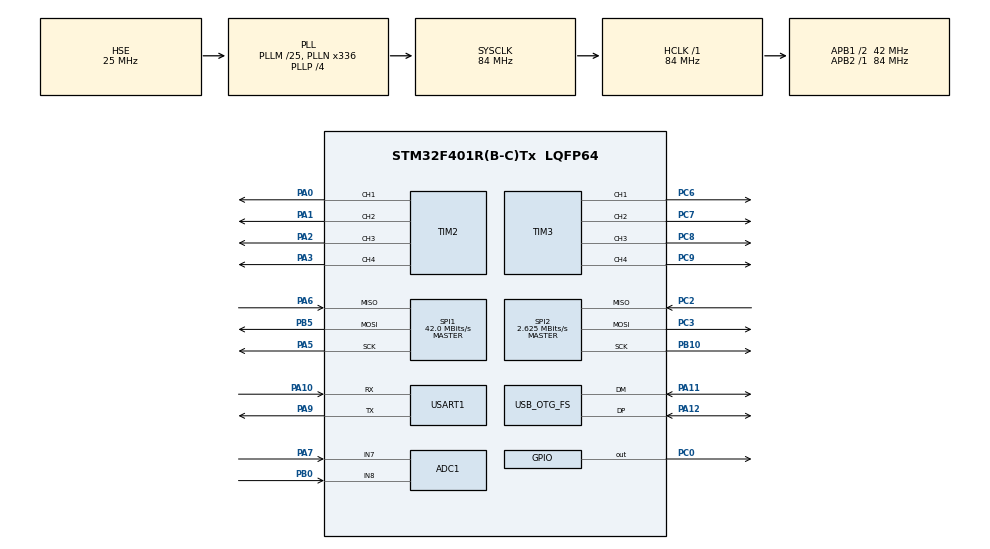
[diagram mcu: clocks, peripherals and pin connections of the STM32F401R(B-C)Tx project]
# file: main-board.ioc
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ADC1.Channel-0\#ChannelRegularConversion=ADC_CHANNEL_8
ADC1.NbrOfConversionFlag=1
ADC1.Rank-0\#ChannelRegularConversion=1
ADC1.SamplingTime-0\#ChannelRegularConversion=ADC_SAMPLETIME_3CYCLES
ADC1.master=1
Mcu.Family=STM32F4
Mcu.Name=STM32F401R(B-C)Tx
Mcu.Package=LQFP64
NVIC.OTG_FS_IRQn=true\:0\:0\:false\:false\:true\:false\:true\:true
NVIC.PriorityGroup=NVIC_PRIORITYGROUP_4
NVIC.TIM4_IRQn=true\:0\:0\:false\:false\:true\:true\:true\:true
PA0-WKUP.Signal=S_TIM2_CH1_ETR
PA1.Signal=S_TIM2_CH2
PA10.Mode=Asynchronous
PA10.Signal=USART1_RX
PA11.Mode=Device_Only
PA11.Signal=USB_OTG_FS_DM
PA12.Mode=Device_Only
PA12.Signal=USB_OTG_FS_DP
PA13.Mode=JTAG_5_pins
PA13.Signal=SYS_JTMS-SWDIO
PA14.Mode=JTAG_5_pins
PA14.Signal=SYS_JTCK-SWCLK
PA15.Mode=JTAG_5_pins
PA15.Signal=SYS_JTDI
PA2.Signal=S_TIM2_CH3
PA3.Signal=S_TIM2_CH4
PA5.Mode=Full_Duplex_Master
PA5.Signal=SPI1_SCK
PA6.Mode=Full_Duplex_Master
PA6.Signal=SPI1_MISO
PA7.Signal=ADCx_IN7
PA9.Mode=Asynchronous
PA9.Signal=USART1_TX
PB0.Signal=ADCx_IN8
PB10.Mode=Full_Duplex_Master
PB10.Signal=SPI2_SCK
PB3.Mode=JTAG_5_pins
PB3.Signal=SYS_JTDO-SWO
PB4.Mode=JTAG_5_pins
PB4.Signal=SYS_JTRST
PB5.Mode=Full_Duplex_Master
PB5.Signal=SPI1_MOSI
PC0.Signal=GPIO_Output
PC2.Mode=Full_Duplex_Master
PC2.Signal=SPI2_MISO
PC3.Mode=Full_Duplex_Master
PC3.Signal=SPI2_MOSI
PC6.Signal=S_TIM3_CH1
PC7.Signal=S_TIM3_CH2
PC8.Signal=S_TIM3_CH3
PC9.Signal=S_TIM3_CH4
PH0\ -\ OSC_IN.Mode=HSE-External-Oscillator
PH0\ -\ OSC_IN.Signal=RCC_OSC_IN
PH1\ -\ OSC_OUT.Mode=HSE-External-Oscillator
PH1\ -\ OSC_OUT.Signal=RCC_OSC_OUT
ProjectManager.HeapSize=0x200
ProjectManager.StackSize=0x400
ProjectManager.TargetToolchain=STM32CubeIDE
RCC.48MHZClocksFreq_Value=48000000
RCC.AHBFreq_Value=84000000
RCC.APB1CLKDivider=RCC_HCLK_DIV2
RCC.APB1Freq_Value=42000000
RCC.APB1TimFreq_Value=84000000
RCC.APB2Freq_Value=84000000
RCC.APB2TimFreq_Value=84000000
RCC.CortexFreq_Value=84000000
RCC.HCLKFreq_Value=84000000
RCC.HSE_VALUE=25000000
RCC.HSI_VALUE=16000000
RCC.LSE_VALUE=32768
RCC.PLLM=25
RCC.PLLN=336
RCC.PLLP=RCC_PLLP_DIV4
RCC.PLLQ=7
RCC.SYSCLKFreq_VALUE=84000000
RCC.SYSCLKSource=RCC_SYSCLKSOURCE_PLLCLK
RCC.VCOOutputFreq_Value=336000000
SH.ADCx_IN7.0=ADC1_IN7,IN7
SH.ADCx_IN8.0=ADC1_IN8,IN8
SH.S_TIM2_CH1_ETR.0=TIM2_CH1,PWM Generation1 CH1
SH.S_TIM2_CH2.0=TIM2_CH2,PWM Generation2 CH2
SH.S_TIM2_CH3.0=TIM2_CH3,PWM Generation3 CH3
SH.S_TIM2_CH4.0=TIM2_CH4,PWM Generation4 CH4
SH.S_TIM3_CH1.0=TIM3_CH1,PWM Generation1 CH1
SH.S_TIM3_CH2.0=TIM3_CH2,PWM Generation2 CH2
SH.S_TIM3_CH3.0=TIM3_CH3,PWM Generation3 CH3
SH.S_TIM3_CH4.0=TIM3_CH4,PWM Generation4 CH4
SPI1.CalculateBaudRate=42.0 MBits/s
SPI1.Direction=SPI_DIRECTION_2LINES
SPI1.Mode=SPI_MODE_MASTER
SPI1.VirtualType=VM_MASTER
SPI2.BaudRatePrescaler=SPI_BAUDRATEPRESCALER_16
SPI2.CalculateBaudRate=2.625 MBits/s
SPI2.Direction=SPI_DIRECTION_2LINES
SPI2.Mode=SPI_MODE_MASTER
SPI2.VirtualType=VM_MASTER
TIM2.Channel-PWM\ Generation1\ CH1=TIM_CHANNEL_1
TIM2.Channel-PWM\ Generation2\ CH2=TIM_CHANNEL_2
TIM2.Channel-PWM\ Generation3\ CH3=TIM_CHANNEL_3
TIM2.Channel-PWM\ Generation4\ CH4=TIM_CHANNEL_4
TIM3.Channel-PWM\ Generation1\ CH1=TIM_CHANNEL_1
TIM3.Channel-PWM\ Generation2\ CH2=TIM_CHANNEL_2
TIM3.Channel-PWM\ Generation3\ CH3=TIM_CHANNEL_3
TIM3.Channel-PWM\ Generation4\ CH4=TIM_CHANNEL_4
TIM4.Period=9999
TIM4.Prescaler=8399
USART1.VirtualMode=VM_ASYNC
USB_DEVICE.CLASS_NAME_FS=CDC
USB_DEVICE.VirtualMode=Cdc
USB_DEVICE.VirtualModeFS=Cdc_FS
USB_OTG_FS.VirtualMode=Device_Only
VP_TIM4_VS_ClockSourceINT.Mode=Internal
VP_USB_DEVICE_VS_USB_DEVICE_CDC_FS.Mode=CDC_FS
board=custom

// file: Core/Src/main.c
/* USER CODE BEGIN Header */
/**
  ******************************************************************************
  * @file           : main.c
  * @brief          : Main program body
  ******************************************************************************
  * @attention
  *
  * Copyright (c) 2025 STMicroelectronics.
  * All rights reserved.
  *
  * This software is licensed under terms that can be found in the LICENSE file
  * in the root directory of this software component.
  * If no LICENSE file comes with this software, it is provided AS-IS.
  *
  ******************************************************************************
  */
/* USER CODE END Header */
#include "main.h"
#include "adc.h"
#include "spi.h"
#include "tim.h"
#include "usart.h"
#include "usb_device.h"
#include "gpio.h"

/* USER CODE BEGIN PD */
#define CMD_WREG        0x40
#define CMD_START       0x08
#define CMD_STOP        0x0A
#define CMD_RDATA       0x12

#define REG_INPMUX      0x02
#define REG_MODE        0x04  // as you asked: write 0x39 here
/* USER CODE END PD */

/* USER CODE BEGIN PV */
uint16_t soc = 80; //in % of full
uint16_t current1 = 0; //in mA
uint16_t current2 = 0; //in mA
uint16_t current3 = 0; //in mA
uint16_t totalCurrent = 0; //in A
uint16_t voltage = 0; //in volts
uint16_t currentPower = 0; //in Watts
uint16_t temp1 = 0;
uint16_t temp2 = 0;

//ADS124_HandleTypeDef adc;

volatile uint8_t sendTelemetryFlag = 0;
uint32_t results[6];
/* USER CODE END PV */

void SystemClock_Config(void);

int main(void)
{

  /* MCU Configuration--------------------------------------------------------*/

  /* Reset of all peripherals, Initializes the Flash interface and the Systick. */
  HAL_Init();

  /* Configure the system clock */
  SystemClock_Config();

  /* Initialize all configured peripherals */
  MX_GPIO_Init();
  MX_ADC1_Init();
  MX_SPI1_Init();
  MX_SPI2_Init();
  MX_TIM2_Init();
  MX_TIM3_Init();
  MX_USART1_UART_Init();
  MX_TIM4_Init();
  MX_USB_DEVICE_Init();
  /* USER CODE BEGIN 2 */
//  ADS124_Init(&adc, &hspi2);
//  ADS124_SetDataRate(&adc, 0x06);
//  HAL_TIM_Base_Start_IT(&htim4);

//  uint8_t cmd[3] = { 0x20 | 0x04, 0x02, 0x00};
//  uint8_t rx[3];
//
//  volatile uint8_t reg04;
   {
          uint8_t hdr[2] = { CMD_WREG | REG_MODE, 0x00 }; // write 1 reg
          uint8_t val    = 0x39;
//          ADC_CS_LOW();
          HAL_SPI_Transmit(&hspi2, hdr, 2, HAL_MAX_DELAY);
          HAL_SPI_Transmit(&hspi2, &val, 1, HAL_MAX_DELAY);
//          ADC_CS_HIGH();
   }

  /* USER CODE END 2 */

  /* Infinite loop */
  /* USER CODE BEGIN WHILE */
  while (1)
  {
//	  HAL_GPIO_TogglePin(GPIOC, GPIO_PIN_0);
//	  if (sendTelemetryFlag) {
//		  sendTelemetryFlag = 0;
//		  USB_SendTelemetry(totalCurrent, voltage, soc, temp1, temp2);
//	  }
//	  for (uint8_t ch = 0; ch < 6; ch++) {
//		  // pick channel
//		  ADS124_SelectChannel(&adc, ch);
//		  // start conversion
//		  ADS124_SendCommand(&adc, ADS124_CMD_START);
//
//		  // wait ≥1/400 s = 2.5 ms
//		  HAL_Delay(3);
//
//		  // read the 24-bit signed result
//		  ADS124_ReadConversion(&adc, &results[ch]);
//		  printf("CH%u = %ld\r\n", ch, results[ch]);
//
//		  // stop any further conversions until next START
//		  ADS124_SendCommand(&adc, ADS124_CMD_STOP);
//	  }

	  for (uint8_t ch = 0; ch < 6; ch++)
	  {
		  // a) select channel: INPMUX = P = AINch, N = AINCOM (0x09)
		  {
			  uint8_t hdr[2] = { CMD_WREG | REG_INPMUX, 0x00 };
			  uint8_t mux    = (ch << 4) | 0x0c;
//			  ADC_CS_LOW();
			  HAL_SPI_Transmit(&hspi2, hdr, 2, HAL_MAX_DELAY);
			  HAL_SPI_Transmit(&hspi2, &mux, 1, HAL_MAX_DELAY);
//			  ADC_CS_HIGH();
		  }

		  // b) start one conversion
		  {
			  uint8_t cmd = CMD_START;
//			  ADC_CS_LOW();
			  HAL_SPI_Transmit(&hspi2, &cmd, 1, HAL_MAX_DELAY);
//			  ADC_CS_HIGH();
		  }

		  // c) wait conversion time (e.g. ~3 ms @ 400 SPS)
		  HAL_Delay(3);

		  // d) read the 24-bit result via RDATA
		  {
			  uint8_t cmd = CMD_RDATA;
			  uint8_t buf[3];
//			  ADC_CS_LOW();
			  HAL_SPI_Transmit(&hspi2, &cmd, 1, HAL_MAX_DELAY);
			  HAL_SPI_Receive (&hspi2, buf, 3, HAL_MAX_DELAY);
//			  ADC_CS_HIGH();

			  uint32_t v = (buf[0] << 16)
						| (buf[1] <<  8)
						|  buf[2];
			  results[ch] = v;
		  }

		  // e) stop (optional when doing single-shot)
//		  {
//			  uint8_t cmd = CMD_STOP;
////			  ADC_CS_LOW();
//			  HAL_SPI_Transmit(&hspi1, &cmd, 1, HAL_MAX_DELAY);
////			  ADC_CS_HIGH();
//		  }
	  }
	  volatile int bkpt = 0;
    /* USER CODE END WHILE */

  }
}

void SystemClock_Config(void)
{
  RCC_OscInitTypeDef RCC_OscInitStruct = {0};
  RCC_ClkInitTypeDef RCC_ClkInitStruct = {0};

  /** Configure the main internal regulator output voltage
  */
  __HAL_RCC_PWR_CLK_ENABLE();
  __HAL_PWR_VOLTAGESCALING_CONFIG(PWR_REGULATOR_VOLTAGE_SCALE2);

  /** Initializes the RCC Oscillators according to the specified parameters
  * in the RCC_OscInitTypeDef structure.
  */
  RCC_OscInitStruct.OscillatorType = RCC_OSCILLATORTYPE_HSE;
  RCC_OscInitStruct.HSEState = RCC_HSE_ON;
  RCC_OscInitStruct.PLL.PLLState = RCC_PLL_ON;
  RCC_OscInitStruct.PLL.PLLSource = RCC_PLLSOURCE_HSE;
  RCC_OscInitStruct.PLL.PLLM = 25;
  RCC_OscInitStruct.PLL.PLLN = 336;
  RCC_OscInitStruct.PLL.PLLP = RCC_PLLP_DIV4;
  RCC_OscInitStruct.PLL.PLLQ = 7;
  if (HAL_RCC_OscConfig(&RCC_OscInitStruct) != HAL_OK)
  {
    Error_Handler();
  }

  /** Initializes the CPU, AHB and APB buses clocks
  */
  RCC_ClkInitStruct.ClockType = RCC_CLOCKTYPE_HCLK|RCC_CLOCKTYPE_SYSCLK
                              |RCC_CLOCKTYPE_PCLK1|RCC_CLOCKTYPE_PCLK2;
  RCC_ClkInitStruct.SYSCLKSource = RCC_SYSCLKSOURCE_PLLCLK;
  RCC_ClkInitStruct.AHBCLKDivider = RCC_SYSCLK_DIV1;
  RCC_ClkInitStruct.APB1CLKDivider = RCC_HCLK_DIV2;
  RCC_ClkInitStruct.APB2CLKDivider = RCC_HCLK_DIV1;

  if (HAL_RCC_ClockConfig(&RCC_ClkInitStruct, FLASH_LATENCY_2) != HAL_OK)
  {
    Error_Handler();
  }
}

/* USER CODE BEGIN 4 */
void HAL_TIM_PeriodElapsedCallback(TIM_HandleTypeDef *htim)
{
    if (htim->Instance == TIM4) {
        // read sensors & compute SOC

        // send over USB
//        USB_SendTelemetry(totalCurrent, voltage, soc, temp1, temp2);
//        HAL_GPIO_TogglePin(GPIOC, GPIO_PIN_0);
        sendTelemetryFlag = 1;
    }
}

int fputc(int ch, FILE *f) {
  ITM_SendChar(ch);
  return ch;
}
/* USER CODE END 4 */

void Error_Handler(void)
{
  __disable_irq();
  while (1)
  {
  }
}
